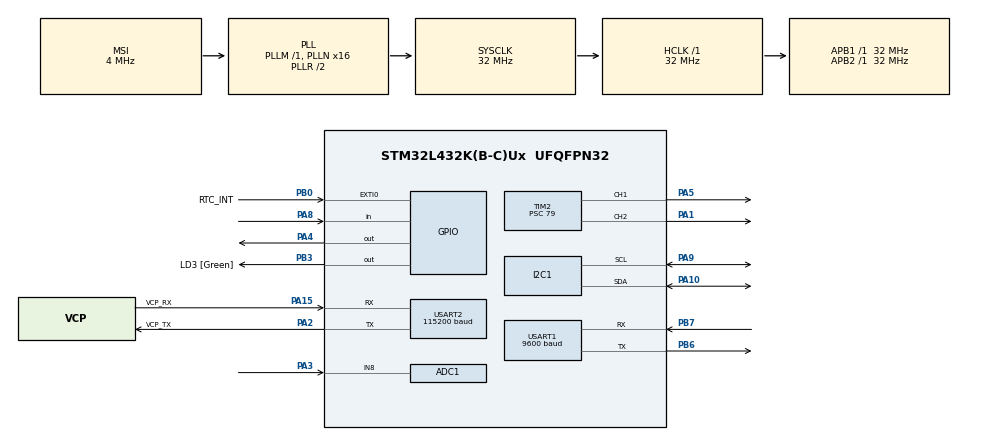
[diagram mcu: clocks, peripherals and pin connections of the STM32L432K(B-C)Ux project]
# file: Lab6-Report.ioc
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ADC1.Channel-0\#ChannelRegularConversion=ADC_CHANNEL_8
ADC1.NbrOfConversionFlag=1
ADC1.OffsetNumber-0\#ChannelRegularConversion=ADC_OFFSET_NONE
ADC1.Rank-0\#ChannelRegularConversion=1
ADC1.SamplingTime-0\#ChannelRegularConversion=ADC_SAMPLETIME_2CYCLES_5
ADC1.master=1
FREERTOS.Tasks01=defaultTask,24,128,StartDefaultTask,Default,NULL,Dynamic,NULL,NULL;Task1_Time,8,128,Task1_Time_Func,Default,NULL,Dynamic,NULL,NULL;Task2_Temp,8,128,Task2_Temp_Func,Default,NULL,Dynamic,NULL,NULL
I2C1.Timing=0x00707CBB
Mcu.Family=STM32L4
Mcu.Name=STM32L432K(B-C)Ux
Mcu.Package=UFQFPN32
NVIC.EXTI0_IRQn=true\:5\:0\:false\:false\:true\:true\:true\:true
NVIC.PriorityGroup=NVIC_PRIORITYGROUP_4
NVIC.TIM1_UP_TIM16_IRQn=true\:15\:0\:false\:false\:true\:false\:false\:true
NVIC.TIM2_IRQn=true\:5\:0\:false\:false\:true\:true\:true\:true
NVIC.TimeBase=TIM1_UP_TIM16_IRQn
NVIC.TimeBaseIP=TIM1
NVIC.USART2_IRQn=true\:5\:0\:false\:false\:true\:true\:true\:true
PA0.GPIO_Label=MCO [High speed clock in]
PA0.Mode=HSE-External-Clock-Source-for-LittleOrca
PA0.Signal=RCC_CK_IN
PA1.Signal=S_TIM2_CH2
PA10.Mode=I2C
PA10.Signal=I2C1_SDA
PA13\ (JTMS-SWDIO).GPIO_Label=SWDIO
PA13\ (JTMS-SWDIO).Mode=Serial_Wire
PA13\ (JTMS-SWDIO).Signal=SYS_JTMS-SWDIO
PA14\ (JTCK-SWCLK).GPIO_Label=SWCLK
PA14\ (JTCK-SWCLK).Mode=Serial_Wire
PA14\ (JTCK-SWCLK).Signal=SYS_JTCK-SWCLK
PA15\ (JTDI).GPIO_Label=VCP_RX
PA15\ (JTDI).Mode=Asynchronous
PA15\ (JTDI).Signal=USART2_RX
PA2.GPIO_Label=VCP_TX
PA2.Mode=Asynchronous
PA2.Signal=USART2_TX
PA3.Signal=ADCx_IN8
PA4.Signal=GPIO_Output
PA5.Signal=S_TIM2_CH1
PA8.GPIO_PuPd=GPIO_PULLUP
PA8.Signal=GPIO_Input
PA9.Mode=I2C
PA9.Signal=I2C1_SCL
PB0.GPIO_Label=RTC_INT
PB0.GPIO_ModeDefaultEXTI=GPIO_MODE_IT_FALLING
PB0.GPIO_PuPd=GPIO_PULLUP
PB0.Signal=GPXTI0
PB3\ (JTDO-TRACESWO).GPIO_Label=LD3 [Green]
PB3\ (JTDO-TRACESWO).Signal=GPIO_Output
PB6.Mode=Asynchronous
PB6.Signal=USART1_TX
PB7.Mode=Asynchronous
PB7.Signal=USART1_RX
PC14-OSC32_IN\ (PC14).Mode=LSE-External-Oscillator
PC14-OSC32_IN\ (PC14).Signal=RCC_OSC32_IN
PC15-OSC32_OUT\ (PC15).Mode=LSE-External-Oscillator
PC15-OSC32_OUT\ (PC15).Signal=RCC_OSC32_OUT
ProjectManager.HeapSize=0x200
ProjectManager.StackSize=0x400
ProjectManager.TargetToolchain=MDK-ARM V5.32
RCC.ADCFreq_Value=32000000
RCC.AHBFreq_Value=32000000
RCC.APB1Freq_Value=32000000
RCC.APB1TimFreq_Value=32000000
RCC.APB2Freq_Value=32000000
RCC.APB2TimFreq_Value=32000000
RCC.CortexFreq_Value=32000000
RCC.HCLKFreq_Value=32000000
RCC.HSE_VALUE=8000000
RCC.HSI16_VALUE=16000000
RCC.HSI48_VALUE=48000000
RCC.HSI_VALUE=16000000
RCC.MSI_VALUE=4000000
RCC.PLLMUL=RCC_PLLMUL_4
RCC.PLLN=16
RCC.PLLSAI1N=16
RCC.SYSCLKFreq_VALUE=32000000
RCC.SYSCLKSource=RCC_SYSCLKSOURCE_PLLCLK
RCC.USBFreq_Value=32000000
RCC.VCOOutputFreq_Value=64000000
SH.ADCx_IN8.0=ADC1_IN8,IN8-Single-Ended
SH.S_TIM2_CH1.0=TIM2_CH1,PWM Generation1 CH1
SH.S_TIM2_CH2.0=TIM2_CH2,PWM Generation2 CH2
TIM2.Channel-PWM\ Generation1\ CH1=TIM_CHANNEL_1
TIM2.Channel-PWM\ Generation2\ CH2=TIM_CHANNEL_2
TIM2.Period=19999
TIM2.Prescaler=79
USART1.BaudRate=9600
USART1.VirtualMode-Asynchronous=VM_ASYNC
USART2.BaudRate=115200
USART2.VirtualMode-Asynchronous=VM_ASYNC
VP_FREERTOS_VS_CMSIS_V2.Mode=CMSIS_V2
VP_SYS_VS_tim1.Mode=TIM1
board=NUCLEO-L432KC

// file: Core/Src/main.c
/* USER CODE BEGIN Header */
/**
  ******************************************************************************
  * @file           : main.c
  * @brief          : Smart Medication Dispenser - Main program body
  ******************************************************************************
  */
/* USER CODE END Header */
#include "main.h"
#include "cmsis_os.h"

/* USER CODE BEGIN Includes */
#include <string.h>
#include <stdio.h>
/* USER CODE END Includes */

/* USER CODE BEGIN PD */
// DS3231 RTC
#define RTC_ADDR        (0x68 << 1)
#define RTC_TIME_REG    0x00

// LCD I2C (address confirmed 0x27)
#define LCD_ADDR        (0x27 << 1)
#define LCD_BACKLIGHT   0x08
#define LCD_ENABLE      0x04
#define LCD_RS          0x01

#define LCD_CMD_CLEAR       0x01
#define LCD_CMD_HOME        0x02
#define LCD_CMD_ENTRY_MODE  0x06
#define LCD_CMD_DISPLAY_ON  0x0C
#define LCD_CMD_FUNCTION    0x28
#define LCD_CMD_SET_DDRAM   0x80
#define LCD_ROW0_OFFSET     0x00
#define LCD_ROW1_OFFSET     0x40

// Servo positions (pulse width in microseconds)
// NARROW-RANGE CALIBRATED VALUES for this specific SG90 (range 500-1050us)
#define SERVO_COMP_0    500
#define SERVO_COMP_1    683
#define SERVO_COMP_2    866
#define SERVO_COMP_3    1050

// IR sensor threshold — LOW = pill present (TCRT5000 analog output)
// Calibrate by checking "IR on boot" value in TeraTerm
#define IR_THRESHOLD    2000

// Timeouts
#define ACK_TIMEOUT_MS        30000
#define ACK_AFTER_SWITCH_MS   30000

#define MAX_DOSES       4

// Flash storage — last page of STM32L432KC flash (page 127)
#define FLASH_SCHEDULE_ADDR  0x0803F800
#define FLASH_MAGIC          0xDEADBEEF
/* USER CODE END PD */

ADC_HandleTypeDef hadc1;
I2C_HandleTypeDef hi2c1;
TIM_HandleTypeDef htim2;
UART_HandleTypeDef huart1;
UART_HandleTypeDef huart2;

osThreadId_t defaultTaskHandle;
const osThreadAttr_t defaultTask_attributes = {
  .name = "defaultTask",
  .stack_size = 256 * 4,
  .priority = (osPriority_t) osPriorityNormal,
};

/* USER CODE BEGIN PV */
typedef struct {
    uint8_t hour;
    uint8_t minute;
    uint8_t active;
} DoseTime_t;

volatile DoseTime_t doseSchedule[MAX_DOSES] = {0};
volatile uint8_t numDoses = 0;

char btCmdBuf[64];
volatile uint8_t btCmdIdx = 0;

uint8_t doseTriggeredThisMinute = 0;

// Tracks which compartment the servo will rotate to next
volatile uint8_t currentCompartment = 0;
/* USER CODE END PV */

void SystemClock_Config(void);
static void MX_GPIO_Init(void);
static void MX_USART2_UART_Init(void);
static void MX_I2C1_Init(void);
static void MX_ADC1_Init(void);
static void MX_TIM2_Init(void);
static void MX_USART1_UART_Init(void);
void StartDefaultTask(void *argument);

/* USER CODE BEGIN PFP */
void UART2_Print(const char *msg);
void I2C_Scan(void);
void LCD_SendNibble(uint8_t nibble, uint8_t mode);
void LCD_SendByte(uint8_t byte, uint8_t mode);
void LCD_SendCommand(uint8_t cmd);
void LCD_SendData(uint8_t data);
void LCD_Init(void);
void LCD_Clear(void);
void LCD_SetCursor(uint8_t row, uint8_t col);
void LCD_Print(const char *str);
void LCD_PrintLine(uint8_t row, const char *str);
void Servo_SetCompartment(uint8_t compartment);
void Servo_RotateToNext(void);
uint16_t IR_Read(void);
uint8_t Pill_Present(void);
void Buzzer_On(void);
void Buzzer_Off(void);
uint8_t Switch_IsLow(void);
void RTC_SetTime(uint8_t hours, uint8_t minutes, uint8_t seconds);
void RTC_GetTime(uint8_t *hours, uint8_t *minutes, uint8_t *seconds);
void Flash_SaveSchedule(void);
void Flash_LoadSchedule(void);
void AdvanceToNextDose(void);
void HandleDoseCycle(void);
void BT_ProcessCommand(char *cmd);
/* USER CODE END PFP */

/* USER CODE BEGIN 0 */

// ============================================================
// UART2 Helper
// ============================================================
void UART2_Print(const char *msg) {
    HAL_UART_Transmit(&huart2, (uint8_t *)msg, strlen(msg), HAL_MAX_DELAY);
}

// ============================================================
// I2C Scanner
// ============================================================
void I2C_Scan(void) {
    char buf[48];
    uint8_t found = 0;
    UART2_Print("Scanning I2C bus...\r\n");
    for (uint8_t addr = 1; addr < 128; addr++) {
        if (HAL_I2C_IsDeviceReady(&hi2c1, addr << 1, 1, 10) == HAL_OK) {
            snprintf(buf, sizeof(buf), "  Found: 0x%02X", addr);
            UART2_Print(buf);
            if (addr == 0x27 || addr == 0x3F) UART2_Print(" (LCD)");
            else if (addr == 0x68)             UART2_Print(" (DS3231 RTC)");
            UART2_Print("\r\n");
            found++;
        }
    }
    if (!found) UART2_Print("  No devices found!\r\n");
    else {
        snprintf(buf, sizeof(buf), "  Total: %d device(s)\r\n", found);
        UART2_Print(buf);
    }
}

// ============================================================
// LCD Driver (PCF8574 I2C backpack, 4-bit mode)
// ============================================================
void LCD_SendNibble(uint8_t nibble, uint8_t mode) {
    uint8_t data = nibble | mode | LCD_BACKLIGHT;
    uint8_t hi = data | LCD_ENABLE;
    uint8_t lo = data & ~LCD_ENABLE;
    HAL_I2C_Master_Transmit(&hi2c1, LCD_ADDR, &hi, 1, HAL_MAX_DELAY);
    HAL_Delay(1);
    HAL_I2C_Master_Transmit(&hi2c1, LCD_ADDR, &lo, 1, HAL_MAX_DELAY);
    HAL_Delay(1);
}

void LCD_SendByte(uint8_t byte, uint8_t mode) {
    LCD_SendNibble(byte & 0xF0, mode);
    LCD_SendNibble((byte << 4) & 0xF0, mode);
}

void LCD_SendCommand(uint8_t cmd) { LCD_SendByte(cmd, 0); }
void LCD_SendData(uint8_t data)   { LCD_SendByte(data, LCD_RS); }

void LCD_Init(void) {
    HAL_Delay(50);
    LCD_SendNibble(0x30, 0); HAL_Delay(5);
    LCD_SendNibble(0x30, 0); HAL_Delay(5);
    LCD_SendNibble(0x30, 0); HAL_Delay(1);
    LCD_SendNibble(0x20, 0); HAL_Delay(1);
    LCD_SendCommand(LCD_CMD_FUNCTION);   HAL_Delay(1);
    LCD_SendCommand(LCD_CMD_DISPLAY_ON); HAL_Delay(1);
    LCD_SendCommand(LCD_CMD_CLEAR);      HAL_Delay(2);
    LCD_SendCommand(LCD_CMD_ENTRY_MODE); HAL_Delay(1);
    UART2_Print("LCD initialized.\r\n");
}

void LCD_Clear(void) { LCD_SendCommand(LCD_CMD_CLEAR); HAL_Delay(2); }

void LCD_SetCursor(uint8_t row, uint8_t col) {
    LCD_SendCommand(LCD_CMD_SET_DDRAM | ((row ? LCD_ROW1_OFFSET : LCD_ROW0_OFFSET) + col));
}

void LCD_Print(const char *str) {
    while (*str) LCD_SendData((uint8_t)*str++);
}

void LCD_PrintLine(uint8_t row, const char *str) {
    LCD_SetCursor(row, 0);
    char line[17];
    snprintf(line, sizeof(line), "%-16s", str);
    LCD_Print(line);
}

// ============================================================
// Buzzer (PA4 — active buzzer, GPIO HIGH = on)
// ============================================================
void Buzzer_On(void)  { HAL_GPIO_WritePin(GPIOA, GPIO_PIN_4, GPIO_PIN_SET); }
void Buzzer_Off(void) { HAL_GPIO_WritePin(GPIOA, GPIO_PIN_4, GPIO_PIN_RESET); }

// ============================================================
// Switch (PA8 — SPDT, LOW = switched toward GND)
// ============================================================
uint8_t Switch_IsLow(void) {
    return (HAL_GPIO_ReadPin(GPIOA, GPIO_PIN_8) == GPIO_PIN_RESET) ? 1 : 0;
}

// ============================================================
// Servo (TIM2 CH1 on PA5)
// ============================================================
void Servo_SetCompartment(uint8_t comp) {
    uint16_t pulse[] = {SERVO_COMP_0, SERVO_COMP_1, SERVO_COMP_2, SERVO_COMP_3};
    if (comp > 3) comp = 0;
    __HAL_TIM_SET_COMPARE(&htim2, TIM_CHANNEL_1, pulse[comp]);
    HAL_TIM_PWM_Start(&htim2, TIM_CHANNEL_1);
}

// ============================================================
// Servo rotate to next compartment — uses stop/restart pattern
// to force PWM output reload inside FreeRTOS task context.
// Uses narrow-range calibrated pulses (500-1050us) for this servo.
// ============================================================
void Servo_RotateToNext(void) {
    uint16_t pulses[4] = {SERVO_COMP_0, SERVO_COMP_1, SERVO_COMP_2, SERVO_COMP_3};

    char buf[48];
    snprintf(buf, sizeof(buf), "Servo -> compartment %d (pulse=%u)\r\n",
             currentCompartment, pulses[currentCompartment]);
    UART2_Print(buf);

    HAL_TIM_PWM_Stop(&htim2, TIM_CHANNEL_1);
    __HAL_TIM_SET_COMPARE(&htim2, TIM_CHANNEL_1, pulses[currentCompartment]);
    HAL_TIM_PWM_Start(&htim2, TIM_CHANNEL_1);
    osDelay(1500);

    currentCompartment = (currentCompartment + 1) % 4;
}

// ============================================================
// IR Sensor (ADC1 CH8 on PA3)
// TCRT5000: LOW analog output = pill present (green LED on)
// ============================================================
uint16_t IR_Read(void) {
    HAL_ADC_Start(&hadc1);
    HAL_ADC_PollForConversion(&hadc1, HAL_MAX_DELAY);
    uint16_t val = HAL_ADC_GetValue(&hadc1);
    HAL_ADC_Stop(&hadc1);
    return val;
}

uint8_t Pill_Present(void) {
    return (IR_Read() < IR_THRESHOLD) ? 1 : 0;  // LOW = pill present
}

// ============================================================
// RTC (DS3231 over I2C)
// ============================================================
void RTC_SetTime(uint8_t hours, uint8_t minutes, uint8_t seconds) {
    uint8_t data[3];
    data[0] = ((seconds / 10) << 4) | (seconds % 10);
    data[1] = ((minutes / 10) << 4) | (minutes % 10);
    data[2] = ((hours   / 10) << 4) | (hours   % 10);
    HAL_I2C_Mem_Write(&hi2c1, RTC_ADDR, RTC_TIME_REG,
                      I2C_MEMADD_SIZE_8BIT, data, 3, HAL_MAX_DELAY);
    UART2_Print("RTC time set.\r\n");
}

void RTC_GetTime(uint8_t *hours, uint8_t *minutes, uint8_t *seconds) {
    uint8_t d[3] = {0};
    HAL_I2C_Mem_Read(&hi2c1, RTC_ADDR, RTC_TIME_REG,
                     I2C_MEMADD_SIZE_8BIT, d, 3, HAL_MAX_DELAY);
    *seconds = (d[0] & 0x0F) + ((d[0] >> 4) * 10);
    *minutes = (d[1] & 0x0F) + ((d[1] >> 4) * 10);
    *hours   = (d[2] & 0x0F) + (((d[2] >> 4) & 0x03) * 10);
}

// ============================================================
// Flash storage — save/load dose schedule to last flash page
// STM32L432KC: page 127 at 0x0803F800
// ============================================================
void Flash_SaveSchedule(void) {
    HAL_FLASH_Unlock();

    // Erase page 127
    FLASH_EraseInitTypeDef eraseInit;
    uint32_t pageError;
    eraseInit.TypeErase = FLASH_TYPEERASE_PAGES;
    eraseInit.Page = 127;
    eraseInit.NbPages = 1;
    HAL_FLASHEx_Erase(&eraseInit, &pageError);

    // Write magic number (validates data on next boot)
    uint64_t magic = FLASH_MAGIC;
    HAL_FLASH_Program(FLASH_TYPEPROGRAM_DOUBLEWORD,
                      FLASH_SCHEDULE_ADDR, magic);

    // Write number of doses
    uint64_t nDoses = numDoses;
    HAL_FLASH_Program(FLASH_TYPEPROGRAM_DOUBLEWORD,
                      FLASH_SCHEDULE_ADDR + 8, nDoses);

    // Write each dose (hour and minute packed into 64 bits)
    for (int i = 0; i < numDoses; i++) {
        uint64_t dose = ((uint64_t)doseSchedule[i].hour << 8) |
                         (uint64_t)doseSchedule[i].minute;
        HAL_FLASH_Program(FLASH_TYPEPROGRAM_DOUBLEWORD,
                          FLASH_SCHEDULE_ADDR + 16 + (i * 8), dose);
    }

    HAL_FLASH_Lock();
    UART2_Print("Schedule saved to flash.\r\n");
}

void Flash_LoadSchedule(void) {
    // Check magic number
    uint32_t magic = *(uint32_t *)FLASH_SCHEDULE_ADDR;

    if (magic != FLASH_MAGIC) {
        UART2_Print("No saved schedule in flash.\r\n");
        return;
    }

    // Read number of doses
    uint32_t n = *(uint32_t *)(FLASH_SCHEDULE_ADDR + 8);
    if (n > MAX_DOSES) {
        UART2_Print("Invalid flash data — skipping.\r\n");
        return;
    }
    numDoses = n;

    // Read each dose
    for (int i = 0; i < numDoses; i++) {
        uint64_t dose = *(uint64_t *)(FLASH_SCHEDULE_ADDR + 16 + (i * 8));
        doseSchedule[i].hour   = (dose >> 8) & 0xFF;
        doseSchedule[i].minute = dose & 0xFF;
        doseSchedule[i].active = 1;
    }

    char buf[48];
    snprintf(buf, sizeof(buf), "Loaded %d dose(s) from flash:\r\n", numDoses);
    UART2_Print(buf);
    for (int i = 0; i < numDoses; i++) {
        snprintf(buf, sizeof(buf), "  Dose %d: %02d:%02d\r\n",
                 i+1, doseSchedule[i].hour, doseSchedule[i].minute);
        UART2_Print(buf);
    }
}

// ============================================================
// Advance to next dose
// ============================================================
void AdvanceToNextDose(void) {
    if (numDoses > 0) {
        for (int i = 0; i < numDoses - 1; i++) {
            doseSchedule[i] = doseSchedule[i + 1];
        }
        numDoses--;

        // Save updated schedule to flash
        Flash_SaveSchedule();

        if (numDoses > 0) {
            char buf[40];
            snprintf(buf, sizeof(buf), "Next dose: %02d:%02d\r\n",
                     doseSchedule[0].hour, doseSchedule[0].minute);
            UART2_Print(buf);
            char lcdBuf[17];
            snprintf(lcdBuf, sizeof(lcdBuf), "Next: %02d:%02d",
                     doseSchedule[0].hour, doseSchedule[0].minute);
            LCD_PrintLine(1, lcdBuf);
        } else {
            UART2_Print("No more doses today.\r\n");
            LCD_PrintLine(1, "No more doses");
        }
    }
}

// ============================================================
// Handle dose cycle
// ============================================================
void HandleDoseCycle(void) {
    char buf[64];

    snprintf(buf, sizeof(buf), "ALARM: Dose due at %02d:%02d\r\n",
             doseSchedule[0].hour, doseSchedule[0].minute);
    UART2_Print(buf);

    // ---- Rotate servo to next compartment ----
    Servo_RotateToNext();

    // ---- PHASE 1: Buzzer on, wait for pill removal or switch ----
    LCD_PrintLine(0, "** DOSE DUE **");
    LCD_PrintLine(1, "Pill present");
    Buzzer_On();

    uint32_t startTime = HAL_GetTick();
    uint8_t pillTaken = 0;
    uint8_t switchAcknowledged = 0;

    while (HAL_GetTick() - startTime < ACK_TIMEOUT_MS) {
        if (!Pill_Present()) {
            pillTaken = 1;
            break;
        }
        if (Switch_IsLow()) {
            switchAcknowledged = 1;
            break;
        }
        osDelay(200);
    }

    if (pillTaken) {
        // Pill removed directly
        Buzzer_Off();
        snprintf(buf, sizeof(buf), "Dose TAKEN at %02d:%02d\r\n",
                 doseSchedule[0].hour, doseSchedule[0].minute);
        UART2_Print(buf);
        LCD_PrintLine(0, "Dose taken!");
        LCD_PrintLine(1, "");
        osDelay(3000);
        AdvanceToNextDose();
        doseTriggeredThisMinute = 1;
        return;
    }

    if (!switchAcknowledged) {
        // 30s timeout — missed
        Buzzer_Off();
        snprintf(buf, sizeof(buf), "Dose MISSED at %02d:%02d\r\n",
                 doseSchedule[0].hour, doseSchedule[0].minute);
        UART2_Print(buf);
        LCD_PrintLine(0, "Dose MISSED!");
        LCD_PrintLine(1, "");
        osDelay(3000);
        AdvanceToNextDose();
        doseTriggeredThisMinute = 1;
        return;
    }

    // ---- PHASE 2: Switch acknowledged, pill still present ----
    Buzzer_Off();
    UART2_Print("Acknowledged - pill still present. Waiting 30s...\r\n");
    LCD_PrintLine(0, "Acknowledged");
    LCD_PrintLine(1, "Take pill now!");

    // Wait for switch to go back HIGH
    while (Switch_IsLow()) { osDelay(50); }

    // Wait up to 30s for pill removal
    startTime = HAL_GetTick();
    pillTaken = 0;

    while (HAL_GetTick() - startTime < ACK_AFTER_SWITCH_MS) {
        if (!Pill_Present()) {
            pillTaken = 1;
            break;
        }
        osDelay(200);
    }

    if (pillTaken) {
        snprintf(buf, sizeof(buf), "Dose TAKEN at %02d:%02d (after ack)\r\n",
                 doseSchedule[0].hour, doseSchedule[0].minute);
        UART2_Print(buf);
        LCD_PrintLine(0, "Dose taken!");
        LCD_PrintLine(1, "");
    } else {
        snprintf(buf, sizeof(buf), "Dose MISSED at %02d:%02d (after ack)\r\n",
                 doseSchedule[0].hour, doseSchedule[0].minute);
        UART2_Print(buf);
        LCD_PrintLine(0, "Dose MISSED!");
        LCD_PrintLine(1, "");
    }

    osDelay(3000);
    AdvanceToNextDose();
    doseTriggeredThisMinute = 1;
}

// ============================================================
// Bluetooth command parser — "SET 08:00 13:00 18:00 22:00"
// ============================================================
void BT_ProcessCommand(char *cmd) {
    char buf[64];
    char lcdBuf[17];

    UART2_Print("Processing: ");
    UART2_Print(cmd);
    UART2_Print("\r\n");

    if (strncmp(cmd, "SET", 3) == 0) {
        numDoses = 0;
        char *ptr = cmd + 4;
        while (*ptr && numDoses < MAX_DOSES) {
            uint8_t h = 0, m = 0;
            if (sscanf(ptr, "%hhu:%hhu", &h, &m) == 2) {
                doseSchedule[numDoses].hour   = h;
                doseSchedule[numDoses].minute = m;
                doseSchedule[numDoses].active = 1;
                numDoses++;
            }
            ptr = strchr(ptr, ' ');
            if (ptr) ptr++; else break;
        }

        snprintf(buf, sizeof(buf), "Received %d dose times:\r\n", numDoses);
        UART2_Print(buf);
        for (int i = 0; i < numDoses; i++) {
            snprintf(buf, sizeof(buf), "  Dose %d: %02d:%02d\r\n",
                     i+1, doseSchedule[i].hour, doseSchedule[i].minute);
            UART2_Print(buf);
        }

        // Save to flash so schedule survives power cycles
        Flash_SaveSchedule();

        if (numDoses > 0) {
            snprintf(lcdBuf, sizeof(lcdBuf), "Next: %02d:%02d",
                     doseSchedule[0].hour, doseSchedule[0].minute);
        } else {
            snprintf(lcdBuf, sizeof(lcdBuf), "No doses set");
        }
        LCD_PrintLine(1, lcdBuf);
        doseTriggeredThisMinute = 0;

    } else {
        UART2_Print("Unknown command. Use: SET HH:MM HH:MM\r\n");
    }
}

/* USER CODE END 0 */

int main(void)
{
  HAL_Init();
  SystemClock_Config();

  MX_GPIO_Init();
  MX_USART2_UART_Init();
  MX_I2C1_Init();
  MX_ADC1_Init();
  MX_TIM2_Init();
  MX_USART1_UART_Init();

  /* USER CODE BEGIN 2 */
  UART2_Print("\r\n===================================\r\n");
  UART2_Print("  Smart Medication Dispenser\r\n");
  UART2_Print("===================================\r\n\r\n");

  I2C_Scan();
  UART2_Print("\r\n");

  LCD_Init();
  LCD_PrintLine(0, "Med Dispenser");
  LCD_PrintLine(1, "Loading...");

  // Uncomment once to set time, then comment out again
 // RTC_SetTime(17, 19, 0);

  // Load saved schedule from flash
  Flash_LoadSchedule();

  // Update LCD with loaded schedule
  if (numDoses > 0) {
      char lcdBuf[17];
      snprintf(lcdBuf, sizeof(lcdBuf), "Next: %02d:%02d",
               doseSchedule[0].hour, doseSchedule[0].minute);
      LCD_PrintLine(1, lcdBuf);
  } else {
      LCD_PrintLine(1, "No doses set");
  }

  // Switch and IR boot check
  if (Switch_IsLow()) {
      UART2_Print("WARNING: Switch is LOW on boot!\r\n");
  } else {
      UART2_Print("Switch is HIGH. Ready.\r\n");
  }

  char irBuf[32];
  snprintf(irBuf, sizeof(irBuf), "IR on boot: %d\r\n", IR_Read());
  UART2_Print(irBuf);

  UART2_Print("Send 'SET HH:MM HH:MM ...' from Arduino Blue.\r\n\r\n");

  // ---- Home servo to compartment 0 at boot ----
  UART2_Print("Homing servo to compartment 0...\r\n");
  HAL_TIM_PWM_Start(&htim2, TIM_CHANNEL_1);
  __HAL_TIM_SET_COMPARE(&htim2, TIM_CHANNEL_1, SERVO_COMP_0);
  HAL_Delay(1500);
  currentCompartment = 1;  // next rotation will go to compartment 1
  UART2_Print("Servo homed.\r\n");
  /* USER CODE END 2 */

  osKernelInitialize();
  defaultTaskHandle = osThreadNew(StartDefaultTask, NULL, &defaultTask_attributes);
  osKernelStart();

  while (1) {}
}

// ============================================================
// Main Task
// ============================================================
void StartDefaultTask(void *argument)
{
  /* USER CODE BEGIN 5 */
  uint8_t testByte;
  char lcdLine1[17];
  char lcdLine2[17];
  uint32_t lastUpdate = 0;
  uint8_t lastMinute = 99;

  for(;;)
  {
      // ---- Bluetooth receive ----
      if (HAL_UART_Receive(&huart1, &testByte, 1, 10) == HAL_OK) {
          if (testByte == '\n' || testByte == '\r' || testByte == 0xFA) {
              if (btCmdIdx > 0) {
                  btCmdBuf[btCmdIdx] = '\0';
                  btCmdIdx = 0;
                  BT_ProcessCommand(btCmdBuf);
              }
          } else if (testByte >= 32 && testByte < 127) {
              if (btCmdIdx < sizeof(btCmdBuf) - 1) {
                  btCmdBuf[btCmdIdx++] = testByte;
              }
          }
      }

      // ---- Check time every 5 seconds ----
      uint32_t now = HAL_GetTick();
      if (now - lastUpdate >= 5000) {
          lastUpdate = now;

          uint8_t h, m, s;
          RTC_GetTime(&h, &m, &s);

          if (m != lastMinute) {
              lastMinute = m;
              doseTriggeredThisMinute = 0;

              snprintf(lcdLine1, sizeof(lcdLine1), "Time:  %02d:%02d", h, m);
              LCD_PrintLine(0, lcdLine1);

              if (numDoses > 0) {
                  snprintf(lcdLine2, sizeof(lcdLine2), "Next: %02d:%02d",
                           doseSchedule[0].hour, doseSchedule[0].minute);
              } else {
                  snprintf(lcdLine2, sizeof(lcdLine2), "No doses set");
              }
              LCD_PrintLine(1, lcdLine2);
          }

          // ---- Dose time check ----
          if (numDoses > 0 && !doseTriggeredThisMinute) {
              if (h == doseSchedule[0].hour && m == doseSchedule[0].minute) {
                  HandleDoseCycle();
              }
          }
      }

      osDelay(10);
  }
  /* USER CODE END 5 */
}

void HAL_TIM_PeriodElapsedCallback(TIM_HandleTypeDef *htim)
{
  if (htim->Instance == TIM1) HAL_IncTick();
}

void SystemClock_Config(void)
{
  RCC_OscInitTypeDef RCC_OscInitStruct = {0};
  RCC_ClkInitTypeDef RCC_ClkInitStruct = {0};

  HAL_PWREx_ControlVoltageScaling(PWR_REGULATOR_VOLTAGE_SCALE1);
  HAL_PWR_EnableBkUpAccess();
  __HAL_RCC_LSEDRIVE_CONFIG(RCC_LSEDRIVE_LOW);

  RCC_OscInitStruct.OscillatorType = RCC_OSCILLATORTYPE_LSE|RCC_OSCILLATORTYPE_MSI;
  RCC_OscInitStruct.LSEState = RCC_LSE_ON;
  RCC_OscInitStruct.MSIState = RCC_MSI_ON;
  RCC_OscInitStruct.MSICalibrationValue = 0;
  RCC_OscInitStruct.MSIClockRange = RCC_MSIRANGE_6;
  RCC_OscInitStruct.PLL.PLLState = RCC_PLL_ON;
  RCC_OscInitStruct.PLL.PLLSource = RCC_PLLSOURCE_MSI;
  RCC_OscInitStruct.PLL.PLLM = 1;
  RCC_OscInitStruct.PLL.PLLN = 16;
  RCC_OscInitStruct.PLL.PLLP = RCC_PLLP_DIV7;
  RCC_OscInitStruct.PLL.PLLQ = RCC_PLLQ_DIV2;
  RCC_OscInitStruct.PLL.PLLR = RCC_PLLR_DIV2;
  HAL_RCC_OscConfig(&RCC_OscInitStruct);

  RCC_ClkInitStruct.ClockType = RCC_CLOCKTYPE_HCLK|RCC_CLOCKTYPE_SYSCLK
                              |RCC_CLOCKTYPE_PCLK1|RCC_CLOCKTYPE_PCLK2;
  RCC_ClkInitStruct.SYSCLKSource = RCC_SYSCLKSOURCE_PLLCLK;
  RCC_ClkInitStruct.AHBCLKDivider = RCC_SYSCLK_DIV1;
  RCC_ClkInitStruct.APB1CLKDivider = RCC_HCLK_DIV1;
  RCC_ClkInitStruct.APB2CLKDivider = RCC_HCLK_DIV1;
  HAL_RCC_ClockConfig(&RCC_ClkInitStruct, FLASH_LATENCY_1);
  HAL_RCCEx_EnableMSIPLLMode();
}

static void MX_ADC1_Init(void)
{
  ADC_ChannelConfTypeDef sConfig = {0};
  hadc1.Instance = ADC1;
  hadc1.Init.ClockPrescaler = ADC_CLOCK_ASYNC_DIV1;
  hadc1.Init.Resolution = ADC_RESOLUTION_12B;
  hadc1.Init.DataAlign = ADC_DATAALIGN_RIGHT;
  hadc1.Init.ScanConvMode = ADC_SCAN_DISABLE;
  hadc1.Init.EOCSelection = ADC_EOC_SINGLE_CONV;
  hadc1.Init.LowPowerAutoWait = DISABLE;
  hadc1.Init.ContinuousConvMode = DISABLE;
  hadc1.Init.NbrOfConversion = 1;
  hadc1.Init.DiscontinuousConvMode = DISABLE;
  hadc1.Init.ExternalTrigConv = ADC_SOFTWARE_START;
  hadc1.Init.ExternalTrigConvEdge = ADC_EXTERNALTRIGCONVEDGE_NONE;
  hadc1.Init.DMAContinuousRequests = DISABLE;
  hadc1.Init.Overrun = ADC_OVR_DATA_PRESERVED;
  hadc1.Init.OversamplingMode = DISABLE;
  HAL_ADC_Init(&hadc1);
  sConfig.Channel = ADC_CHANNEL_8;
  sConfig.Rank = ADC_REGULAR_RANK_1;
  sConfig.SamplingTime = ADC_SAMPLETIME_2CYCLES_5;
  sConfig.SingleDiff = ADC_SINGLE_ENDED;
  sConfig.OffsetNumber = ADC_OFFSET_NONE;
  sConfig.Offset = 0;
  HAL_ADC_ConfigChannel(&hadc1, &sConfig);
}

static void MX_I2C1_Init(void)
{
  hi2c1.Instance = I2C1;
  hi2c1.Init.Timing = 0x00707CBB;
  hi2c1.Init.OwnAddress1 = 0;
  hi2c1.Init.AddressingMode = I2C_ADDRESSINGMODE_7BIT;
  hi2c1.Init.DualAddressMode = I2C_DUALADDRESS_DISABLE;
  hi2c1.Init.OwnAddress2 = 0;
  hi2c1.Init.OwnAddress2Masks = I2C_OA2_NOMASK;
  hi2c1.Init.GeneralCallMode = I2C_GENERALCALL_DISABLE;
  hi2c1.Init.NoStretchMode = I2C_NOSTRETCH_DISABLE;
  HAL_I2C_Init(&hi2c1);
  HAL_I2CEx_ConfigAnalogFilter(&hi2c1, I2C_ANALOGFILTER_ENABLE);
  HAL_I2CEx_ConfigDigitalFilter(&hi2c1, 0);
}

static void MX_TIM2_Init(void)
{
  TIM_MasterConfigTypeDef sMasterConfig = {0};
  TIM_OC_InitTypeDef sConfigOC = {0};
  htim2.Instance = TIM2;
  htim2.Init.Prescaler = 79;
  htim2.Init.CounterMode = TIM_COUNTERMODE_UP;
  htim2.Init.Period = 19999;
  htim2.Init.ClockDivision = TIM_CLOCKDIVISION_DIV1;
  htim2.Init.AutoReloadPreload = TIM_AUTORELOAD_PRELOAD_ENABLE;
  HAL_TIM_PWM_Init(&htim2);
  sMasterConfig.MasterOutputTrigger = TIM_TRGO_RESET;
  sMasterConfig.MasterSlaveMode = TIM_MASTERSLAVEMODE_DISABLE;
  HAL_TIMEx_MasterConfigSynchronization(&htim2, &sMasterConfig);
  sConfigOC.OCMode = TIM_OCMODE_PWM1;
  sConfigOC.Pulse = 0;
  sConfigOC.OCPolarity = TIM_OCPOLARITY_HIGH;
  sConfigOC.OCFastMode = TIM_OCFAST_DISABLE;
  HAL_TIM_PWM_ConfigChannel(&htim2, &sConfigOC, TIM_CHANNEL_1);
  HAL_TIM_PWM_ConfigChannel(&htim2, &sConfigOC, TIM_CHANNEL_2);
  HAL_TIM_MspPostInit(&htim2);
}

static void MX_USART1_UART_Init(void)
{
  huart1.Instance = USART1;
  huart1.Init.BaudRate = 9600;
  huart1.Init.WordLength = UART_WORDLENGTH_8B;
  huart1.Init.StopBits = UART_STOPBITS_1;
  huart1.Init.Parity = UART_PARITY_NONE;
  huart1.Init.Mode = UART_MODE_TX_RX;
  huart1.Init.HwFlowCtl = UART_HWCONTROL_NONE;
  huart1.Init.OverSampling = UART_OVERSAMPLING_16;
  huart1.Init.OneBitSampling = UART_ONE_BIT_SAMPLE_DISABLE;
  huart1.AdvancedInit.AdvFeatureInit = UART_ADVFEATURE_NO_INIT;
  HAL_UART_Init(&huart1);
}

static void MX_USART2_UART_Init(void)
{
  huart2.Instance = USART2;
  huart2.Init.BaudRate = 115200;
  huart2.Init.WordLength = UART_WORDLENGTH_8B;
  huart2.Init.StopBits = UART_STOPBITS_1;
  huart2.Init.Parity = UART_PARITY_NONE;
  huart2.Init.Mode = UART_MODE_TX_RX;
  huart2.Init.HwFlowCtl = UART_HWCONTROL_NONE;
  huart2.Init.OverSampling = UART_OVERSAMPLING_16;
  huart2.Init.OneBitSampling = UART_ONE_BIT_SAMPLE_DISABLE;
  huart2.AdvancedInit.AdvFeatureInit = UART_ADVFEATURE_NO_INIT;
  HAL_UART_Init(&huart2);
}

static void MX_GPIO_Init(void)
{
  GPIO_InitTypeDef GPIO_InitStruct = {0};
  __HAL_RCC_GPIOC_CLK_ENABLE();
  __HAL_RCC_GPIOA_CLK_ENABLE();
  __HAL_RCC_GPIOB_CLK_ENABLE();

  HAL_GPIO_WritePin(GPIOA, GPIO_PIN_4, GPIO_PIN_RESET);
  HAL_GPIO_WritePin(LD3_GPIO_Port, LD3_Pin, GPIO_PIN_RESET);

  // PA4 — Active buzzer (GPIO HIGH = on)
  GPIO_InitStruct.Pin = GPIO_PIN_4;
  GPIO_InitStruct.Mode = GPIO_MODE_OUTPUT_PP;
  GPIO_InitStruct.Pull = GPIO_NOPULL;
  GPIO_InitStruct.Speed = GPIO_SPEED_FREQ_LOW;
  HAL_GPIO_Init(GPIOA, &GPIO_InitStruct);

  // PA8 — SPDT switch (input, pull-up, active LOW)
  GPIO_InitStruct.Pin = GPIO_PIN_8;
  GPIO_InitStruct.Mode = GPIO_MODE_INPUT;
  GPIO_InitStruct.Pull = GPIO_PULLUP;
  HAL_GPIO_Init(GPIOA, &GPIO_InitStruct);

  // PB0 — unused input
  GPIO_InitStruct.Pin = RTC_INT_Pin;
  GPIO_InitStruct.Mode = GPIO_MODE_INPUT;
  GPIO_InitStruct.Pull = GPIO_PULLUP;
  HAL_GPIO_Init(RTC_INT_GPIO_Port, &GPIO_InitStruct);

  // PB3 — Onboard LED
  GPIO_InitStruct.Pin = LD3_Pin;
  GPIO_InitStruct.Mode = GPIO_MODE_OUTPUT_PP;
  GPIO_InitStruct.Pull = GPIO_NOPULL;
  GPIO_InitStruct.Speed = GPIO_SPEED_FREQ_LOW;
  HAL_GPIO_Init(LD3_GPIO_Port, &GPIO_InitStruct);
}

void Error_Handler(void)
{
  __disable_irq();
  while (1) {}
}
